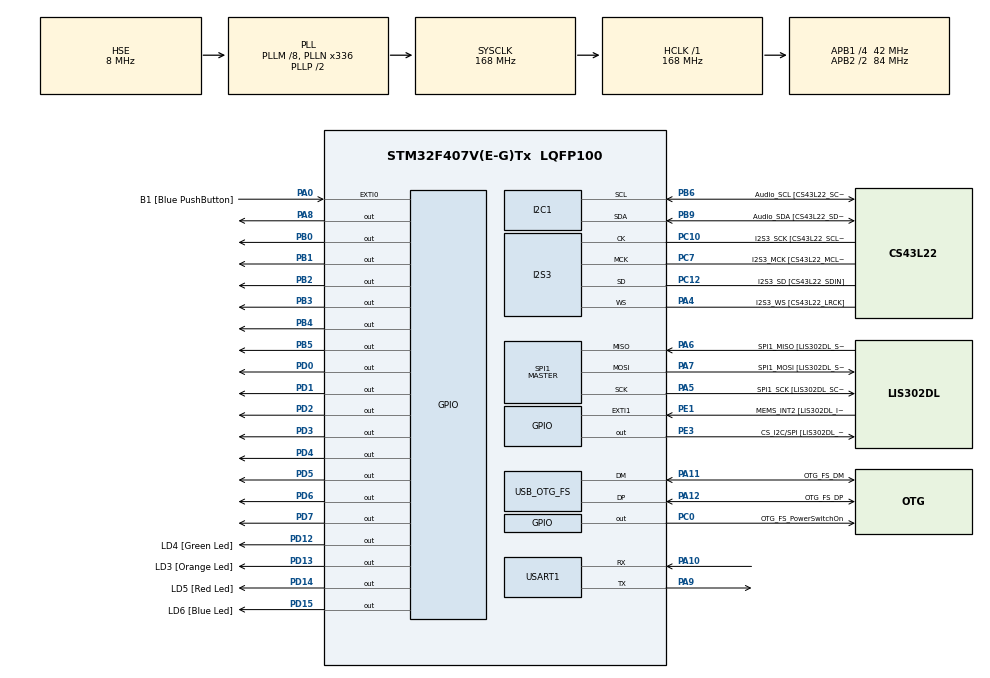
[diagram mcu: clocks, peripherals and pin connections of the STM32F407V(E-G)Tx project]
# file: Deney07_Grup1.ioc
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I2S3.AudioFreq-Half_Duplex_Master=I2S_AUDIOFREQ_96K
I2S3.ErrorAudioFreq=-2.34 %
I2S3.ErrorAudioFreq-Half_Duplex_Master=0.8 %
I2S3.FullDuplexMode=I2S_FULLDUPLEXMODE_DISABLE
I2S3.Instance=SPI$Index
I2S3.RealAudioFreq=93.75 KHz
I2S3.RealAudioFreq-Half_Duplex_Master=96.774 KHz
I2S3.VirtualMode=I2S_MODE_MASTER
Mcu.Family=STM32F4
Mcu.Name=STM32F407V(E-G)Tx
Mcu.Package=LQFP100
NVIC.OTG_FS_IRQn=true\:0\:0\:false\:false\:true\:true\:true\:true
NVIC.PriorityGroup=NVIC_PRIORITYGROUP_0
NVIC.USART1_IRQn=true\:0\:0\:false\:false\:true\:true\:true\:true
PA0-WKUP.GPIO_Label=B1 [Blue PushButton]
PA0-WKUP.GPIO_ModeDefaultEXTI=GPIO_MODE_EVT_RISING
PA0-WKUP.GPIO_PuPd=GPIO_NOPULL
PA0-WKUP.Signal=GPXTI0
PA10.Mode=Asynchronous
PA10.Signal=USART1_RX
PA11.GPIO_Label=OTG_FS_DM
PA11.GPIO_Mode=GPIO_MODE_AF_PP
PA11.GPIO_PuPd=GPIO_NOPULL
PA11.GPIO_Speed=GPIO_SPEED_FREQ_LOW
PA11.Mode=Host_Only
PA11.Signal=USB_OTG_FS_DM
PA12.GPIO_Label=OTG_FS_DP
PA12.GPIO_Mode=GPIO_MODE_AF_PP
PA12.GPIO_PuPd=GPIO_NOPULL
PA12.GPIO_Speed=GPIO_SPEED_FREQ_LOW
PA12.Mode=Host_Only
PA12.Signal=USB_OTG_FS_DP
PA13.GPIO_Label=SWDIO
PA13.Mode=Serial_Wire
PA13.Signal=SYS_JTMS-SWDIO
PA14.GPIO_Label=SWCLK
PA14.Mode=Serial_Wire
PA14.Signal=SYS_JTCK-SWCLK
PA4.GPIO_Label=I2S3_WS [CS43L22_LRCK]
PA4.GPIO_Mode=GPIO_MODE_AF_PP
PA4.GPIO_PuPd=GPIO_NOPULL
PA4.GPIO_Speed=GPIO_SPEED_FREQ_LOW
PA4.Mode=Half_Duplex_Master
PA4.Signal=I2S3_WS
PA5.GPIO_Label=SPI1_SCK [LIS302DL_SCL/SPC]
PA5.GPIO_Mode=GPIO_MODE_AF_PP
PA5.GPIO_PuPd=GPIO_NOPULL
PA5.GPIO_Speed=GPIO_SPEED_FREQ_LOW
PA5.Mode=Full_Duplex_Master
PA5.Signal=SPI1_SCK
PA6.GPIO_Label=SPI1_MISO [LIS302DL_SDO]
PA6.GPIO_Mode=GPIO_MODE_AF_PP
PA6.GPIO_PuPd=GPIO_NOPULL
PA6.GPIO_Speed=GPIO_SPEED_FREQ_LOW
PA6.Mode=Full_Duplex_Master
PA6.Signal=SPI1_MISO
PA7.GPIO_Label=SPI1_MOSI [LIS302DL_SDA/SDI/SDO]
PA7.GPIO_Mode=GPIO_MODE_AF_PP
PA7.GPIO_PuPd=GPIO_NOPULL
PA7.GPIO_Speed=GPIO_SPEED_FREQ_LOW
PA7.Mode=Full_Duplex_Master
PA7.Signal=SPI1_MOSI
PA8.Signal=GPIO_Output
PA9.Mode=Asynchronous
PA9.Signal=USART1_TX
PB0.Signal=GPIO_Output
PB1.Signal=GPIO_Output
PB10.GPIO_Label=CLK_IN [MP45DT02_CLK]
PB10.GPIO_Mode=GPIO_MODE_AF_PP
PB10.GPIO_PuPd=GPIO_NOPULL
PB10.GPIO_Speed=GPIO_SPEED_FREQ_LOW
PB10.Signal=I2S2_CK
PB2.Signal=GPIO_Output
PB3.Signal=GPIO_Output
PB4.Signal=GPIO_Output
PB5.Signal=GPIO_Output
PB6.GPIO_Label=Audio_SCL [CS43L22_SCL]
PB6.GPIO_Mode=GPIO_MODE_AF_OD
PB6.GPIO_Pu=GPIO_PULLUP
PB6.GPIO_PuPd=GPIO_NOPULL
PB6.GPIO_Speed=GPIO_SPEED_FREQ_LOW
PB6.Mode=I2C
PB6.Signal=I2C1_SCL
PB9.GPIO_Label=Audio_SDA [CS43L22_SDA]
PB9.GPIO_Mode=GPIO_MODE_AF_OD
PB9.GPIO_Pu=GPIO_PULLUP
PB9.GPIO_PuPd=GPIO_NOPULL
PB9.GPIO_Speed=GPIO_SPEED_FREQ_LOW
PB9.Mode=I2C
PB9.Signal=I2C1_SDA
PC0.GPIO_Label=OTG_FS_PowerSwitchOn
PC0.GPIO_PuPd=GPIO_NOPULL
PC0.GPIO_Speed=GPIO_SPEED_FREQ_LOW
PC0.PinState=GPIO_PIN_SET
PC0.Signal=GPIO_Output
PC10.GPIO_Label=I2S3_SCK [CS43L22_SCLK]
PC10.GPIO_Mode=GPIO_MODE_AF_PP
PC10.GPIO_PuPd=GPIO_NOPULL
PC10.GPIO_Speed=GPIO_SPEED_FREQ_LOW
PC10.Mode=Half_Duplex_Master
PC10.Signal=I2S3_CK
PC12.GPIO_Label=I2S3_SD [CS43L22_SDIN]
PC12.GPIO_Mode=GPIO_MODE_AF_PP
PC12.GPIO_PuPd=GPIO_NOPULL
PC12.GPIO_Speed=GPIO_SPEED_FREQ_LOW
PC12.Mode=Half_Duplex_Master
PC12.Signal=I2S3_SD
PC14-OSC32_IN.GPIO_Label=PC14-OSC32_IN
PC14-OSC32_IN.Mode=LSE-External-Oscillator
PC14-OSC32_IN.Signal=RCC_OSC32_IN
PC15-OSC32_OUT.GPIO_Label=PC15-OSC32_OUT
PC15-OSC32_OUT.Mode=LSE-External-Oscillator
PC15-OSC32_OUT.Signal=RCC_OSC32_OUT
PC3.GPIO_Label=PDM_OUT [MP45DT02_DOUT]
PC3.GPIO_Mode=GPIO_MODE_AF_PP
PC3.GPIO_PuPd=GPIO_NOPULL
PC3.GPIO_Speed=GPIO_SPEED_FREQ_LOW
PC3.Signal=I2S2_SD
PC7.GPIO_Label=I2S3_MCK [CS43L22_MCLK]
PC7.GPIO_Mode=GPIO_MODE_AF_PP
PC7.GPIO_PuPd=GPIO_NOPULL
PC7.GPIO_Speed=GPIO_SPEED_FREQ_LOW
PC7.Mode=Master_Clock_Activated
PC7.Signal=I2S3_MCK
PD0.Signal=GPIO_Output
PD1.Signal=GPIO_Output
PD12.GPIO_Label=LD4 [Green Led]
PD12.GPIO_PuPd=GPIO_NOPULL
PD12.GPIO_Speed=GPIO_SPEED_FREQ_LOW
PD12.Signal=GPIO_Output
PD13.GPIO_Label=LD3 [Orange Led]
PD13.GPIO_PuPd=GPIO_NOPULL
PD13.GPIO_Speed=GPIO_SPEED_FREQ_LOW
PD13.Signal=GPIO_Output
PD14.GPIO_Label=LD5 [Red Led]
PD14.GPIO_PuPd=GPIO_NOPULL
PD14.GPIO_Speed=GPIO_SPEED_FREQ_LOW
PD14.Signal=GPIO_Output
PD15.GPIO_Label=LD6 [Blue Led]
PD15.GPIO_PuPd=GPIO_NOPULL
PD15.GPIO_Speed=GPIO_SPEED_FREQ_LOW
PD15.Signal=GPIO_Output
PD2.Signal=GPIO_Output
PD3.Signal=GPIO_Output
PD4.Signal=GPIO_Output
PD5.Signal=GPIO_Output
PD6.Signal=GPIO_Output
PD7.Signal=GPIO_Output
PE1.GPIO_Label=MEMS_INT2 [LIS302DL_INT2]
PE1.GPIO_ModeDefaultEXTI=GPIO_MODE_EVT_RISING
PE1.GPIO_PuPd=GPIO_NOPULL
PE1.Signal=GPXTI1
PE3.GPIO_Label=CS_I2C/SPI [LIS302DL_CS_I2C/SPI]
PE3.GPIO_PuPd=GPIO_NOPULL
PE3.GPIO_Speed=GPIO_SPEED_FREQ_LOW
PE3.Signal=GPIO_Output
PH0-OSC_IN.GPIO_Label=PH0-OSC_IN
PH0-OSC_IN.Mode=HSE-External-Oscillator
PH0-OSC_IN.Signal=RCC_OSC_IN
PH1-OSC_OUT.GPIO_Label=PH1-OSC_OUT
PH1-OSC_OUT.Mode=HSE-External-Oscillator
PH1-OSC_OUT.Signal=RCC_OSC_OUT
ProjectManager.HeapSize=0x200
ProjectManager.StackSize=0x400
ProjectManager.TargetToolchain=STM32CubeIDE
RCC.48MHZClocksFreq_Value=48000000
RCC.AHBFreq_Value=168000000
RCC.APB1CLKDivider=RCC_HCLK_DIV4
RCC.APB1Freq_Value=42000000
RCC.APB1TimFreq_Value=84000000
RCC.APB2CLKDivider=RCC_HCLK_DIV2
RCC.APB2Freq_Value=84000000
RCC.APB2TimFreq_Value=168000000
RCC.CortexFreq_Value=168000000
RCC.HCLKFreq_Value=168000000
RCC.HSE_VALUE=8000000
RCC.HSI_VALUE=16000000
RCC.PLLM=8
RCC.PLLN=336
RCC.PLLQ=7
RCC.SYSCLKFreq_VALUE=168000000
RCC.SYSCLKSource=RCC_SYSCLKSOURCE_PLLCLK
RCC.VCOOutputFreq_Value=336000000
SPI1.BaudRatePrescaler-Full_Duplex_Master=SPI_BAUDRATEPRESCALER_2
SPI1.CalculateBaudRate-Full_Duplex_Master=42.0 MBits/s
SPI1.Direction=SPI_DIRECTION_2LINES
SPI1.Mode=SPI_MODE_MASTER
SPI1.Mode-Full_Duplex_Master=SPI_MODE_MASTER
SPI1.VirtualType=VM_MASTER
TIM2.Period=100-1
TIM2.Prescaler=16000-1
USART1.VirtualMode=VM_ASYNC
USB_HOST.BSP.number=1
USB_HOST.USBH_HandleTypeDef-CDC_FS=hUsbHostFS
USB_HOST.VirtualModeFS=Cdc
USB_HOST0.BSP.STBoard=false
USB_HOST0.BSP.api=Unknown
USB_HOST0.BSP.instance=PC0
USB_HOST0.BSP.ip=GPIO
USB_HOST0.BSP.mode=Output
USB_HOST0.BSP.name=Drive_VBUS_FS
USB_HOST0.BSP.solution=PC0
USB_OTG_FS.VirtualMode=Host_Only
USB_OTG_FS.phy_itface=HCD_PHY_EMBEDDED
VP_TIM2_VS_ClockSourceINT.Mode=Internal
VP_USB_HOST_VS_USB_HOST_CDC_FS.Mode=CDC_FS
board=STM32F407G-DISC1

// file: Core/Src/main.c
/* USER CODE BEGIN Header */
/**
  ******************************************************************************
  * @file    main.c
  * @brief   Yilan Oyunu — STM32F407 / ArmApp-18 Deney Seti
  *
  * DUZELTMELER (orijinal kod uzerinden):
  *   1. Oyun hizi 10 ms  →  40 ms  (foy gereksinimine uygun, oynanabilir)
  *   2. 'volatile' keyword'u ISR ile paylasilan degiskenlere eklendi
  *      (rx_buffer, yon_istek) — race-condition onlendi
  *   3. Yem yenme kontrolu eklendi (carpismaya dayali, tolerans = ADIM+1)
  *   4. Kendine carpma (self-collision) kontrolu eklendi
  *   5. Rastgele yem konumu: LCG (Linear Congruential Generator) ile uretilir
  *   6. Skor gosterimi: her yem = +10 puan, ekranin ust kosesinde gosterilir
  *   7. 'S' komutuyla oyun sifirlanip yeniden baslatilabilir
  *   8. goto yerine duzgun kontrol akisi
  *   9. Sinir cercevesi cizildi (oyun alani acik gorulur)
  *  10. Oyun bitis ekrani: skor gosterilir, 'S' ile tekrar baslanir
  ******************************************************************************
  */
/* USER CODE END Header */

#include "main.h"
#include "usb_host.h"

/* USER CODE BEGIN Includes */
#include "glcd.h"
#include <string.h>
#include <stdio.h>
/* USER CODE END Includes */

I2C_HandleTypeDef  hi2c1;
I2S_HandleTypeDef  hi2s3;
SPI_HandleTypeDef  hspi1;
TIM_HandleTypeDef  htim2;
UART_HandleTypeDef huart1;

/* USER CODE BEGIN PV */

/* --- ISR ile paylasilan degiskenler: MUTLAKA volatile olmali! --- */
volatile uint8_t rx_buffer  = 0;   /* UART'tan gelen ham byte            */
volatile char    yon_istek  = 'R'; /* ISR tarafindan yazilan yon istegi  */
volatile uint8_t restart_flag = 0; /* 'S' komutu geldiginde 1 olur       */

/* --- Oyun sabitleri --- */
#define MAX_UZUNLUK     100u
#define EKRAN_GEN       128u
#define EKRAN_YUK       64u
#define PARCA_BOY       3u      /* Yilan/yem kare boyutu (piksel)         */
#define ADIM            3u      /* Her hamlede kaydirma miktari (piksel)  */
#define OYUN_HIZI_MS    150u     /* Hamle periyodu ms — foy: 40 ms         */

/* Oyun alani ic sinirlar (1 piksel border + 1 boskluk) */
#define ALAN_SOL        2
#define ALAN_SAG        (EKRAN_GEN  - PARCA_BOY - 2)   /* 123 */
#define ALAN_UST        10      /* Ust kisimda skor icin yer birakildi   */
#define ALAN_ALT        (EKRAN_YUK  - PARCA_BOY - 2)   /* 59  */

/* --- Oyun durumu degiskenleri --- */
static int16_t  yilan_x[MAX_UZUNLUK];
static int16_t  yilan_y[MAX_UZUNLUK];
static uint8_t  uzunluk;
static char     yon;          /* Aktif yön (her frame'in basinda guncellenir) */
static int16_t  yem_x, yem_y;
static uint8_t  oyun_bitti;   /* 0=Oynuyor  1=GameOver(gosterilmedi)  2=Bekle */
static uint16_t skor;

/* Basit LCG rastgele sayi ureteci */
static uint32_t rand_seed = 12345UL;

/* USER CODE END PV */

void SystemClock_Config(void);
static void MX_GPIO_Init(void);
static void MX_I2C1_Init(void);
static void MX_I2S3_Init(void);
static void MX_SPI1_Init(void);
static void MX_TIM2_Init(void);
static void MX_USART1_UART_Init(void);
void MX_USB_HOST_Process(void);

/* USER CODE BEGIN PFP */
static void     Oyun_Baslat(void);
static uint32_t Rand_Get(void);
static void     Yeni_Yem_Olustur(void);
static uint8_t  Yem_Yilana_Cakisiyor(int16_t x, int16_t y);
static void     Sinir_Ciz(void);
static void     Skor_Goster(void);
static void     Buzzer_Bip(uint32_t sure_ms);
/* USER CODE END PFP */

/* USER CODE BEGIN 0 */

/* ---------------------------------------------------------------
 * LCG: seed'i gunceller, 0..32767 araliginda sayi dondurur
 * --------------------------------------------------------------- */
static uint32_t Rand_Get(void)
{
    rand_seed = rand_seed * 1664525UL + 1013904223UL;
    return (rand_seed >> 16) & 0x7FFFu;
}

/* ---------------------------------------------------------------
 * Onerilen konum yilanin uzerinde mi?
 * --------------------------------------------------------------- */
static uint8_t Yem_Yilana_Cakisiyor(int16_t x, int16_t y)
{
    for (uint8_t i = 0; i < uzunluk; i++)
    {
        if (yilan_x[i] == x && yilan_y[i] == y) return 1u;
    }
    return 0u;
}

/* ---------------------------------------------------------------
 * Alan icinde, ADIM'a hizali, yilana carpismayan yem konumu uret
 * --------------------------------------------------------------- */
static void Yeni_Yem_Olustur(void)
{
    int16_t x, y;
    uint8_t deneme = 0;

    /* Grid genisligi ve yuksekligi (ADIM birimleriyle) */
    int16_t gx = (ALAN_SAG - ALAN_SOL) / ADIM;
    int16_t gy = (ALAN_ALT - ALAN_UST) / ADIM;

    do {
        x = ALAN_SOL + (int16_t)(Rand_Get() % (uint32_t)gx) * ADIM;
        y = ALAN_UST + (int16_t)(Rand_Get() % (uint32_t)gy) * ADIM;
        deneme++;
    } while (Yem_Yilana_Cakisiyor(x, y) && deneme < 50u);

    yem_x = x;
    yem_y = y;
}

/* ---------------------------------------------------------------
 * Oyun alani sinir cercevesini cizer
 * --------------------------------------------------------------- */
static void Sinir_Ciz(void)
{
    /* Yatay cizgiler */
    GLCD_DrawLine(0, ALAN_UST - 1, EKRAN_GEN - 1, ALAN_UST - 1, 1); /* Ust */
    GLCD_DrawLine(0, EKRAN_YUK - 1, EKRAN_GEN - 1, EKRAN_YUK - 1, 1); /* Alt */
    /* Dikey cizgiler */
    GLCD_DrawLine(0, ALAN_UST - 1, 0, EKRAN_YUK - 1, 1);              /* Sol */
    GLCD_DrawLine(EKRAN_GEN - 1, ALAN_UST - 1, EKRAN_GEN - 1, EKRAN_YUK - 1, 1); /* Sag */
}

/* ---------------------------------------------------------------
 * Skoru ekranin sol ust kosesine yazar
 * --------------------------------------------------------------- */
static void Skor_Goster(void)
{
    char buf[16];
    (void)sprintf(buf, "S:%u", (unsigned)skor);
    GLCD_WriteString(2, 1, buf);

    /* Uzunluk gostergesi (sag ust kose) */
    (void)sprintf(buf, "L:%u", (unsigned)uzunluk);
    GLCD_WriteString(90, 1, buf);
}

/* ---------------------------------------------------------------
 * Buzzer: sure_ms kadar oter, sonra kapanir
 * --------------------------------------------------------------- */
static void Buzzer_Bip(uint32_t sure_ms)
{
    HAL_GPIO_WritePin(GPIOA, GPIO_PIN_8, GPIO_PIN_SET);
    HAL_Delay(sure_ms);
    HAL_GPIO_WritePin(GPIOA, GPIO_PIN_8, GPIO_PIN_RESET);
}

/* ---------------------------------------------------------------
 * Oyunu (veya yeniden) baslat — tum state'i sifirla
 * --------------------------------------------------------------- */
static void Oyun_Baslat(void)
{
    uzunluk     = 4u;
    yon         = 'R';
    yon_istek   = 'R';
    oyun_bitti  = 0u;
    skor        = 0u;
    restart_flag = 0u;

    /* Yilani ekranin ortasina yatay diz */
    for (uint8_t i = 0; i < uzunluk; i++)
    {
        yilan_x[i] = 64  - (int16_t)(i * ADIM);
        yilan_y[i] = (ALAN_UST + ALAN_ALT) / 2;  /* Dikey orta */
    }

    /* Buzzer'i kapat */
    HAL_GPIO_WritePin(GPIOA, GPIO_PIN_8, GPIO_PIN_RESET);

    Yeni_Yem_Olustur();
}

/* USER CODE END 0 */

/* ============================================================
 * MAIN
 * ============================================================ */
int main(void)
{
    /* MCU Baslangic Yapilandirmasi */
    HAL_Init();
    SystemClock_Config();

    MX_GPIO_Init();
    MX_I2C1_Init();
    MX_I2S3_Init();
    MX_SPI1_Init();
    MX_USB_HOST_Init();
    MX_TIM2_Init();
    MX_USART1_UART_Init();

    /* USER CODE BEGIN 2 */
    HAL_Delay(500);           /* Guç raylari kararlassin */

    /* Seed'i baslangic zamanina gore farklilas tir */
    rand_seed ^= HAL_GetTick();

    GLCD_Init();
    GLCD_Clear();
    GLCD_Update();

    Oyun_Baslat();

    /* Kesme tabanli UART dinlemesini baslat */
    HAL_UART_Receive_IT(&huart1, (uint8_t *)&rx_buffer, 1);
    /* USER CODE END 2 */

    /* ====================================================
     * Ana Oyun Dongüsü
     * ==================================================== */
    uint32_t son_hareket = 0u;

    /* USER CODE BEGIN WHILE */
    while (1)
    {
        /* Seed'i surekli besle (daha iyi rastgelelik) */
        rand_seed ^= HAL_GetTick();

        /* ---- Yeniden Baslama Istegi ('S' komutu) ---- */
        if (restart_flag)
        {
            Oyun_Baslat();
            son_hareket = HAL_GetTick();
        }

        /* ==================================================
         * DURUM 0 : OYUN OYNANIYOR
         * ================================================== */
        if (oyun_bitti == 0u)
        {
            if ((HAL_GetTick() - son_hareket) >= OYUN_HIZI_MS)
            {
                son_hareket = HAL_GetTick();

                /* 1. Yonu guncelle — ters yone donusu engelle ---------- */
                if      (yon_istek == 'U' && yon != 'D') yon = 'U';
                else if (yon_istek == 'D' && yon != 'U') yon = 'D';
                else if (yon_istek == 'L' && yon != 'R') yon = 'L';
                else if (yon_istek == 'R' && yon != 'L') yon = 'R';

                /* 2. Govde takibi: kuyruktan basa dogru kaydir ---------- */
                for (int8_t i = (int8_t)uzunluk - 1; i > 0; i--)
                {
                    yilan_x[i] = yilan_x[i - 1];
                    yilan_y[i] = yilan_y[i - 1];
                }

                /* 3. Bas hareketi ------------------------------------- */
                if (yon == 'U') yilan_y[0] -= ADIM;
                if (yon == 'D') yilan_y[0] += ADIM;
                if (yon == 'L') yilan_x[0] -= ADIM;
                if (yon == 'R') yilan_x[0] += ADIM;

                /* 4. Duvara carpma kontrolu --------------------------- */
                if (yilan_x[0] < ALAN_SOL  ||
                    yilan_x[0] > ALAN_SAG  ||
                    yilan_y[0] < ALAN_UST  ||
                    yilan_y[0] > ALAN_ALT)
                {
                    oyun_bitti = 1u;
                }

                /* 5. Kendine carpma kontrolu (govde = index 1'den itibaren) */
                if (oyun_bitti == 0u)
                {
                    for (uint8_t i = 1u; i < uzunluk; i++)
                    {
                        if (yilan_x[0] == yilan_x[i] &&
                            yilan_y[0] == yilan_y[i])
                        {
                            oyun_bitti = 1u;
                            break;
                        }
                    }
                }

                /* 6. Yem yenme kontrolu ------------------------------- */
                if (oyun_bitti == 0u)
                {
                    /* Toleransli cakisma: bas yeme ADIM+1 birim yakin mi? */
                    int16_t dx = yilan_x[0] - yem_x;
                    int16_t dy = yilan_y[0] - yem_y;
                    if (dx < 0) dx = -dx;
                    if (dy < 0) dy = -dy;

                    if (dx <= (int16_t)(ADIM + 1) && dy <= (int16_t)(ADIM + 1))
                    {
                        /* Yilani uzat */
                        if (uzunluk < MAX_UZUNLUK)
                        {
                            /* Yeni kuyruk parcasini son parcayla ayni konuma koy.
                               Bir sonraki hamlede govde takibi bunu dogru yere tasir. */
                            yilan_x[uzunluk] = yilan_x[uzunluk - 1];
                            yilan_y[uzunluk] = yilan_y[uzunluk - 1];
                            uzunluk++;
                        }
                        skor += 10u;

                        /* Kisa yem bip sesi */
                        Buzzer_Bip(30u);

                        /* Yeni yem olustur */
                        Yeni_Yem_Olustur();
                    }
                }

                /* 7. Cizim (Render) ----------------------------------- */
                GLCD_Clear();

                Skor_Goster();   /* Skor + uzunluk */
                Sinir_Ciz();     /* Oyun alani cercevesi */

                /* Yemi ciz (dolup 3x3 kare) */
                GLCD_DrawRect((uint8_t)yem_x, (uint8_t)yem_y,
                              PARCA_BOY, PARCA_BOY, 1);

                /* Yilani ciz */
                for (uint8_t i = 0u; i < uzunluk; i++)
                {
                    GLCD_DrawRect((uint8_t)yilan_x[i], (uint8_t)yilan_y[i],
                                  PARCA_BOY, PARCA_BOY, 1);
                }

                GLCD_Update();   /* Buffer'i ekrana yansit */
            }
        }

        /* ==================================================
         * DURUM 1 : GAME OVER — ilk gosterim
         * ================================================== */
        else if (oyun_bitti == 1u)
        {
            GLCD_Clear();

            GLCD_WriteString(28, 20, "GAME OVER!");

            /* Skoru goster */
            char buf[20];
            (void)sprintf(buf, "Skor: %u", (unsigned)skor);
            GLCD_WriteString(28, 34, buf);

            GLCD_WriteString(10, 48, "S: Tekrar Oyna");

            GLCD_Update();

            /* Uzun buzzer sesi */
            Buzzer_Bip(500u);

            oyun_bitti = 2u;   /* Bir kez gosterildi, bekleme moduna gec */
        }

        /* DURUM 2: Bekleme — restart_flag gelene kadar hic bir sey yapma */
        /* (restart_flag kontrolu dongünun basinda zaten var) */

        /* USER CODE END WHILE */

        MX_USB_HOST_Process();

    }
}

/* ============================================================
 * KESME SERVIS RUTINI (ISR)
 * ============================================================ */

/* USER CODE BEGIN 4 */
/**
 * @brief  UART alim tamamlama geri cagrimi.
 *         Bu fonksiyon ISR baglaminda calisir; sadece volatile
 *         degiskenlere yazmali, uzun islemlerden kacınmali.
 */
void HAL_UART_RxCpltCallback(UART_HandleTypeDef *huart)
{
    if (huart->Instance == USART1)
    {
        switch (rx_buffer)
        {
            case 'U': if (yon != 'D') yon_istek = 'U'; break;
            case 'D': if (yon != 'U') yon_istek = 'D'; break;
            case 'L': if (yon != 'R') yon_istek = 'L'; break;
            case 'R': if (yon != 'L') yon_istek = 'R'; break;
            case 'S': restart_flag = 1u;                break;
            default:  break;
        }

        /* Bir sonraki komut icin kesmeyi yeniden kur */
        HAL_UART_Receive_IT(&huart1, (uint8_t *)&rx_buffer, 1);
    }
}
/* USER CODE END 4 */

/* ============================================================
 * DONANIM BASLANGIC FONKSIYONLARI (CubeMX uretimi, degistirilmedi)
 * ============================================================ */

void SystemClock_Config(void)
{
    RCC_OscInitTypeDef RCC_OscInitStruct = {0};
    RCC_ClkInitTypeDef RCC_ClkInitStruct = {0};

    __HAL_RCC_PWR_CLK_ENABLE();
    __HAL_PWR_VOLTAGESCALING_CONFIG(PWR_REGULATOR_VOLTAGE_SCALE1);

    RCC_OscInitStruct.OscillatorType = RCC_OSCILLATORTYPE_HSE;
    RCC_OscInitStruct.HSEState       = RCC_HSE_ON;
    RCC_OscInitStruct.PLL.PLLState   = RCC_PLL_ON;
    RCC_OscInitStruct.PLL.PLLSource  = RCC_PLLSOURCE_HSE;
    RCC_OscInitStruct.PLL.PLLM       = 8;
    RCC_OscInitStruct.PLL.PLLN       = 336;
    RCC_OscInitStruct.PLL.PLLP       = RCC_PLLP_DIV2;
    RCC_OscInitStruct.PLL.PLLQ       = 7;
    if (HAL_RCC_OscConfig(&RCC_OscInitStruct) != HAL_OK) Error_Handler();

    RCC_ClkInitStruct.ClockType      = RCC_CLOCKTYPE_HCLK | RCC_CLOCKTYPE_SYSCLK
                                     | RCC_CLOCKTYPE_PCLK1 | RCC_CLOCKTYPE_PCLK2;
    RCC_ClkInitStruct.SYSCLKSource   = RCC_SYSCLKSOURCE_PLLCLK;
    RCC_ClkInitStruct.AHBCLKDivider  = RCC_SYSCLK_DIV1;
    RCC_ClkInitStruct.APB1CLKDivider = RCC_HCLK_DIV4;
    RCC_ClkInitStruct.APB2CLKDivider = RCC_HCLK_DIV2;
    if (HAL_RCC_ClockConfig(&RCC_ClkInitStruct, FLASH_LATENCY_5) != HAL_OK) Error_Handler();
}

static void MX_I2C1_Init(void)
{
    hi2c1.Instance              = I2C1;
    hi2c1.Init.ClockSpeed       = 100000;
    hi2c1.Init.DutyCycle        = I2C_DUTYCYCLE_2;
    hi2c1.Init.OwnAddress1      = 0;
    hi2c1.Init.AddressingMode   = I2C_ADDRESSINGMODE_7BIT;
    hi2c1.Init.DualAddressMode  = I2C_DUALADDRESS_DISABLE;
    hi2c1.Init.OwnAddress2      = 0;
    hi2c1.Init.GeneralCallMode  = I2C_GENERALCALL_DISABLE;
    hi2c1.Init.NoStretchMode    = I2C_NOSTRETCH_DISABLE;
    if (HAL_I2C_Init(&hi2c1) != HAL_OK) Error_Handler();
}

static void MX_I2S3_Init(void)
{
    hi2s3.Instance            = SPI3;
    hi2s3.Init.Mode           = I2S_MODE_MASTER_TX;
    hi2s3.Init.Standard       = I2S_STANDARD_PHILIPS;
    hi2s3.Init.DataFormat     = I2S_DATAFORMAT_16B;
    hi2s3.Init.MCLKOutput     = I2S_MCLKOUTPUT_ENABLE;
    hi2s3.Init.AudioFreq      = I2S_AUDIOFREQ_96K;
    hi2s3.Init.CPOL           = I2S_CPOL_LOW;
    hi2s3.Init.ClockSource    = I2S_CLOCK_PLL;
    hi2s3.Init.FullDuplexMode = I2S_FULLDUPLEXMODE_DISABLE;
    if (HAL_I2S_Init(&hi2s3) != HAL_OK) Error_Handler();
}

static void MX_SPI1_Init(void)
{
    hspi1.Instance               = SPI1;
    hspi1.Init.Mode              = SPI_MODE_MASTER;
    hspi1.Init.Direction         = SPI_DIRECTION_2LINES;
    hspi1.Init.DataSize          = SPI_DATASIZE_8BIT;
    hspi1.Init.CLKPolarity       = SPI_POLARITY_LOW;
    hspi1.Init.CLKPhase          = SPI_PHASE_1EDGE;
    hspi1.Init.NSS               = SPI_NSS_SOFT;
    hspi1.Init.BaudRatePrescaler = SPI_BAUDRATEPRESCALER_2;
    hspi1.Init.FirstBit          = SPI_FIRSTBIT_MSB;
    hspi1.Init.TIMode            = SPI_TIMODE_DISABLE;
    hspi1.Init.CRCCalculation    = SPI_CRCCALCULATION_DISABLE;
    hspi1.Init.CRCPolynomial     = 10;
    if (HAL_SPI_Init(&hspi1) != HAL_OK) Error_Handler();
}

static void MX_TIM2_Init(void)
{
    TIM_ClockConfigTypeDef  sClockSourceConfig = {0};
    TIM_MasterConfigTypeDef sMasterConfig      = {0};

    htim2.Instance               = TIM2;
    htim2.Init.Prescaler         = 16000 - 1;   /* 168 MHz / 16000 = 10500 Hz */
    htim2.Init.CounterMode       = TIM_COUNTERMODE_UP;
    htim2.Init.Period            = 100 - 1;      /* 10500 / 100 = 105 Hz ~ 9.5 ms */
    htim2.Init.ClockDivision     = TIM_CLOCKDIVISION_DIV1;
    htim2.Init.AutoReloadPreload = TIM_AUTORELOAD_PRELOAD_DISABLE;
    if (HAL_TIM_Base_Init(&htim2) != HAL_OK) Error_Handler();

    sClockSourceConfig.ClockSource = TIM_CLOCKSOURCE_INTERNAL;
    if (HAL_TIM_ConfigClockSource(&htim2, &sClockSourceConfig) != HAL_OK) Error_Handler();

    sMasterConfig.MasterOutputTrigger = TIM_TRGO_RESET;
    sMasterConfig.MasterSlaveMode     = TIM_MASTERSLAVEMODE_DISABLE;
    if (HAL_TIMEx_MasterConfigSynchronization(&htim2, &sMasterConfig) != HAL_OK) Error_Handler();
}

static void MX_USART1_UART_Init(void)
{
    huart1.Instance          = USART1;
    huart1.Init.BaudRate     = 115200;
    huart1.Init.WordLength   = UART_WORDLENGTH_8B;
    huart1.Init.StopBits     = UART_STOPBITS_1;
    huart1.Init.Parity       = UART_PARITY_NONE;
    huart1.Init.Mode         = UART_MODE_TX_RX;
    huart1.Init.HwFlowCtl    = UART_HWCONTROL_NONE;
    huart1.Init.OverSampling = UART_OVERSAMPLING_16;
    if (HAL_UART_Init(&huart1) != HAL_OK) Error_Handler();
}

static void MX_GPIO_Init(void)
{
    GPIO_InitTypeDef GPIO_InitStruct = {0};

    __HAL_RCC_GPIOE_CLK_ENABLE();
    __HAL_RCC_GPIOC_CLK_ENABLE();
    __HAL_RCC_GPIOH_CLK_ENABLE();
    __HAL_RCC_GPIOA_CLK_ENABLE();
    __HAL_RCC_GPIOB_CLK_ENABLE();
    __HAL_RCC_GPIOD_CLK_ENABLE();

    /* Cikis pinleri varsayilan duzey */
    HAL_GPIO_WritePin(CS_I2C_SPI_GPIO_Port, CS_I2C_SPI_Pin, GPIO_PIN_RESET);
    HAL_GPIO_WritePin(OTG_FS_PowerSwitchOn_GPIO_Port, OTG_FS_PowerSwitchOn_Pin, GPIO_PIN_SET);
    HAL_GPIO_WritePin(GPIOB, GPIO_PIN_0 | GPIO_PIN_1 | GPIO_PIN_2 | GPIO_PIN_3
                           | GPIO_PIN_4 | GPIO_PIN_5, GPIO_PIN_RESET);
    HAL_GPIO_WritePin(GPIOD, LD4_Pin | LD3_Pin | LD5_Pin | LD6_Pin
                           | GPIO_PIN_0 | GPIO_PIN_1 | GPIO_PIN_2 | GPIO_PIN_3
                           | GPIO_PIN_4 | GPIO_PIN_5 | GPIO_PIN_6 | GPIO_PIN_7, GPIO_PIN_RESET);
    HAL_GPIO_WritePin(GPIOA, GPIO_PIN_8, GPIO_PIN_RESET);  /* Buzzer kapali */

    /* CS_I2C_SPI */
    GPIO_InitStruct.Pin   = CS_I2C_SPI_Pin;
    GPIO_InitStruct.Mode  = GPIO_MODE_OUTPUT_PP;
    GPIO_InitStruct.Pull  = GPIO_NOPULL;
    GPIO_InitStruct.Speed = GPIO_SPEED_FREQ_LOW;
    HAL_GPIO_Init(CS_I2C_SPI_GPIO_Port, &GPIO_InitStruct);

    /* OTG_FS_PowerSwitchOn */
    GPIO_InitStruct.Pin   = OTG_FS_PowerSwitchOn_Pin;
    HAL_GPIO_Init(OTG_FS_PowerSwitchOn_GPIO_Port, &GPIO_InitStruct);

    /* PDM_OUT */
    GPIO_InitStruct.Pin       = PDM_OUT_Pin;
    GPIO_InitStruct.Mode      = GPIO_MODE_AF_PP;
    GPIO_InitStruct.Alternate = GPIO_AF5_SPI2;
    HAL_GPIO_Init(PDM_OUT_GPIO_Port, &GPIO_InitStruct);

    /* B1 (user button) */
    GPIO_InitStruct.Pin  = B1_Pin;
    GPIO_InitStruct.Mode = GPIO_MODE_EVT_RISING;
    GPIO_InitStruct.Pull = GPIO_NOPULL;
    HAL_GPIO_Init(B1_GPIO_Port, &GPIO_InitStruct);

    /* GLCD kontrol pinleri: PB0-PB5 */
    GPIO_InitStruct.Pin   = GPIO_PIN_0 | GPIO_PIN_1 | GPIO_PIN_2
                          | GPIO_PIN_3 | GPIO_PIN_4 | GPIO_PIN_5;
    GPIO_InitStruct.Mode  = GPIO_MODE_OUTPUT_PP;
    GPIO_InitStruct.Pull  = GPIO_NOPULL;
    GPIO_InitStruct.Speed = GPIO_SPEED_FREQ_LOW;
    HAL_GPIO_Init(GPIOB, &GPIO_InitStruct);

    /* CLK_IN */
    GPIO_InitStruct.Pin       = CLK_IN_Pin;
    GPIO_InitStruct.Mode      = GPIO_MODE_AF_PP;
    GPIO_InitStruct.Alternate = GPIO_AF5_SPI2;
    HAL_GPIO_Init(CLK_IN_GPIO_Port, &GPIO_InitStruct);

    /* GLCD veri pinleri + LED'ler: PD0-PD7 */
    GPIO_InitStruct.Pin   = LD4_Pin | LD3_Pin | LD5_Pin | LD6_Pin
                          | GPIO_PIN_0 | GPIO_PIN_1 | GPIO_PIN_2 | GPIO_PIN_3
                          | GPIO_PIN_4 | GPIO_PIN_5 | GPIO_PIN_6 | GPIO_PIN_7;
    GPIO_InitStruct.Mode  = GPIO_MODE_OUTPUT_PP;
    GPIO_InitStruct.Pull  = GPIO_NOPULL;
    GPIO_InitStruct.Speed = GPIO_SPEED_FREQ_LOW;
    HAL_GPIO_Init(GPIOD, &GPIO_InitStruct);

    /* Buzzer: PA8 */
    GPIO_InitStruct.Pin   = GPIO_PIN_8;
    GPIO_InitStruct.Mode  = GPIO_MODE_OUTPUT_PP;
    GPIO_InitStruct.Pull  = GPIO_NOPULL;
    GPIO_InitStruct.Speed = GPIO_SPEED_FREQ_LOW;
    HAL_GPIO_Init(GPIOA, &GPIO_InitStruct);

    /* MEMS_INT2 */
    GPIO_InitStruct.Pin  = MEMS_INT2_Pin;
    GPIO_InitStruct.Mode = GPIO_MODE_EVT_RISING;
    GPIO_InitStruct.Pull = GPIO_NOPULL;
    HAL_GPIO_Init(MEMS_INT2_GPIO_Port, &GPIO_InitStruct);
}

void Error_Handler(void)
{
    __disable_irq();
    while (1) { /* Sonsuz dongu */ }
}
